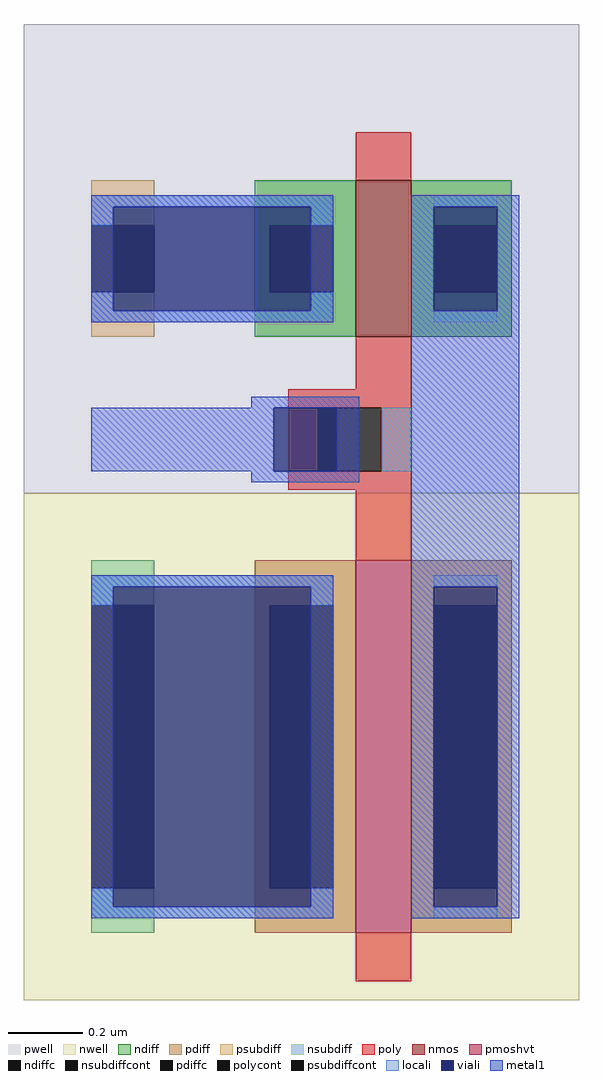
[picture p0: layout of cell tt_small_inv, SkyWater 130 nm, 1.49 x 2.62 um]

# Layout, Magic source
magic
tech sky130A
<< nwell >>
rect 321 2422 470 2558
<< pwell >>
rect 321 2558 470 2684
<< nmos >>
rect 410 2600 425 2642
<< pmoshvt >>
rect 410 2440 425 2540
<< ndiff >>
rect 383 2630 410 2642
rect 383 2612 387 2630
rect 404 2612 410 2630
rect 383 2600 410 2612
rect 425 2630 452 2642
rect 425 2612 431 2630
rect 448 2612 452 2630
rect 425 2600 452 2612
<< pdiff >>
rect 383 2528 410 2540
rect 383 2452 387 2528
rect 404 2452 410 2528
rect 383 2440 410 2452
rect 425 2528 452 2540
rect 425 2452 431 2528
rect 448 2452 452 2528
rect 425 2440 452 2452
<< ndiffc >>
rect 387 2612 404 2630
rect 431 2612 448 2630
<< pdiffc >>
rect 387 2452 404 2528
rect 431 2452 448 2528
<< psubdiff >>
rect 339 2630 356 2642
rect 339 2600 356 2612
<< nsubdiff >>
rect 339 2528 356 2540
rect 339 2440 356 2452
<< psubdiffcont >>
rect 339 2612 356 2630
<< nsubdiffcont >>
rect 339 2452 356 2528
<< poly >>
rect 410 2642 425 2655
rect 410 2586 425 2600
rect 392 2581 425 2586
rect 392 2564 400 2581
rect 417 2564 425 2581
rect 392 2559 425 2564
rect 410 2540 425 2559
rect 410 2427 425 2440
<< polycont >>
rect 400 2564 417 2581
<< locali >>
rect 339 2635 404 2638
rect 339 2630 345 2635
rect 398 2630 404 2635
rect 339 2607 345 2612
rect 398 2607 404 2612
rect 339 2604 404 2607
rect 431 2635 448 2638
rect 431 2604 448 2607
rect 417 2564 425 2581
rect 339 2533 404 2536
rect 339 2528 345 2533
rect 398 2528 404 2533
rect 339 2447 345 2452
rect 398 2447 404 2452
rect 339 2444 404 2447
rect 431 2533 448 2536
rect 431 2444 448 2447
<< viali >>
rect 345 2630 398 2635
rect 345 2612 356 2630
rect 356 2612 387 2630
rect 387 2612 398 2630
rect 345 2607 398 2612
rect 431 2630 448 2635
rect 431 2612 448 2630
rect 431 2607 448 2612
rect 388 2564 400 2581
rect 400 2564 405 2581
rect 345 2528 398 2533
rect 345 2452 356 2528
rect 356 2452 387 2528
rect 387 2452 398 2528
rect 345 2447 398 2452
rect 431 2528 448 2533
rect 431 2452 448 2528
rect 431 2447 448 2452
<< metal1 >>
rect 339 2635 404 2638
rect 339 2607 345 2635
rect 398 2607 404 2635
rect 339 2604 404 2607
rect 425 2635 454 2638
rect 425 2607 431 2635
rect 448 2607 454 2635
rect 382 2581 411 2584
rect 339 2564 388 2581
rect 405 2564 411 2581
rect 382 2561 411 2564
rect 339 2533 404 2536
rect 339 2447 345 2533
rect 398 2447 404 2533
rect 339 2444 404 2447
rect 425 2533 454 2607
rect 425 2447 431 2533
rect 448 2447 454 2533
rect 425 2444 454 2447
<< properties >>
string MASKHINTS_NSDM 326 2550 465 2590
string MASKHINTS_PSDM 326 2550 465 2590
<< end >>
